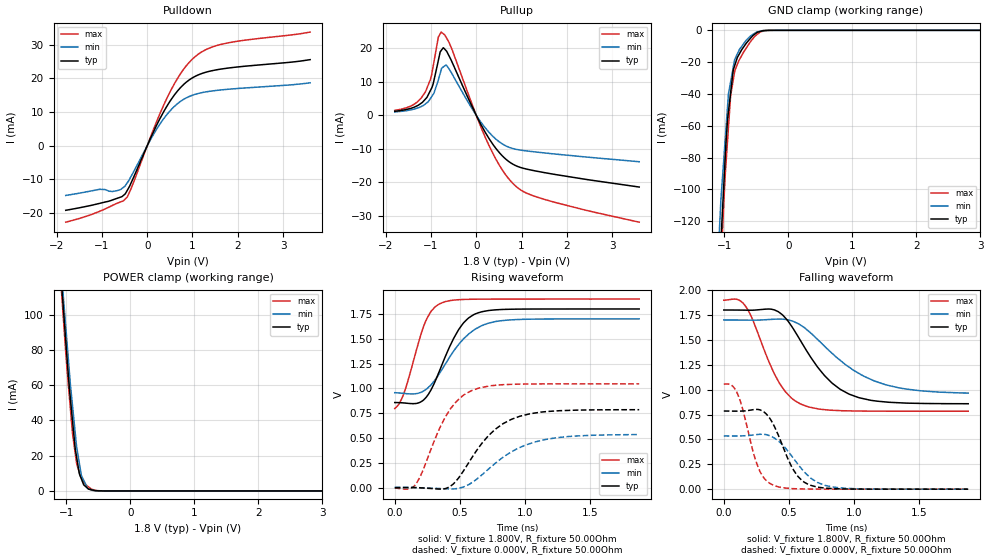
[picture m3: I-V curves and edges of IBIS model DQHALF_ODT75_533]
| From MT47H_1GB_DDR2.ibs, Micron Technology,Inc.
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|MODEL DQHALF_ODT75_533 (Reduced-Drv IO Drvr with 75-ohm ODT Submodel,400/533)
[Model]   DQHALF_ODT75_533
Model_type   I/O
Vinl = 650.000mV
Vinh = 1.150V
Vmeas = 900.000mV
Vref = 900.000mV
Cref = 0.0pF
Rref = 25.000Ohm
|   typ   min   max
C_comp   2.711pF   2.607pF   2.918pF
| Note: C_comp decreases when the ODT circuit is enabled.
[Model Spec]
| Input threshold voltage corners
Vinl   0.650V   0.600V   0.700V
Vinh   1.150V   1.100V   1.200V
| Measurement voltage corners
Vmeas   0.900V   0.850V   0.950V
| Timing spec test load voltage corners
| Vref   0.900V   0.850V   0.950V
| [Receiver Thresholds]
[Voltage Range]   1.800V   1.700V   1.900V
[Pullup Reference]   1.800V   1.700V   1.900V
| Junction Temperature (Ambient temp is 25C typ, 85C min, 0C max)
[Temperature Range]   40.0   100.0   0.0
[Add Submodel]
| Submodel Name   Mode
75ohm_ODT_533   Non-Driving
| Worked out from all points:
|   slope of the pulldown table from 0 to 0.27 V, typ, clamps not added: 34.7 ohm
|   slope of the pullup table from 0 to 0.27 V, typ, clamps not added: 40.5 ohm
|   GND clamp passes 1 mA (typ) near -0.47 V on its own axis
|   POWER clamp passes 1 mA (typ) near -0.65 V on its own axis
|   falling waveform, V_fixture 1.800V, R_fixture 50.00Ohm: 20-80 % time 317ps typ, 433ps min, 228ps max; typ from 1.8 V to 0.859 V
|   rising waveform, V_fixture 1.800V, R_fixture 50.00Ohm: 20-80 % time 200ps typ, 251ps min, 151ps max; typ from 0.857 V to 1.8 V
|   rising waveform, V_fixture 0.000V, R_fixture 50.00Ohm: 20-80 % time 293ps typ, 352ps min, 228ps max; typ from 0 V to 0.785 V
|   falling waveform, V_fixture 0.000V, R_fixture 50.00Ohm: 20-80 % time 164ps typ, 209ps min, 131ps max; typ from 0.785 V to 0 V
[Pulldown]
|   Voltage   I(typ)   I(min)   I(max)
-1.8V     -19.19mA   -14.77mA   -22.72mA
-1.055V   -17.14mA   -12.96mA   -19.51mA
-665mV    -15.63mA   -13.35mA   -17.11mA
-555mV    -15.11mA   -12.67mA   -16.54mA
-440mV    -13.25mA   -11.01mA   -15.2mA
85mV      2.59mA     2.118mA    3.022mA
415mV     11.32mA    8.94mA     13.55mA
750mV     17.48mA    13.31mA    21.69mA
1.08V     20.77mA    15.36mA    26.72mA
1.36V     22.08mA    16.14mA    28.95mA
1.765V    23.05mA    16.76mA    30.52mA
3.6V      25.59mA    18.71mA    33.78mA
[GND Clamp]
|   Voltage   I(typ)   I(min)   I(max)
-1.8V     -885.8mA   -819.1mA   -938.5mA
-1.085V   -156.9mA   -131.5mA   -177.8mA
-1.05V    -129.4mA   -104.3mA   -145.8mA
-1.015V   -102mA     -84.48mA   -113.9mA
-975mV    -70.93mA   -61.87mA   -83.99mA
-935mV    -50.65mA   -39.67mA   -60.36mA
-900mV    -38.4mA    -31.84mA   -40.46mA
-860mV    -24.71mA   -22.89mA   -30.85mA
-775mV    -15.46mA   -12.9mA    -19.13mA
-490mV    -1.39mA    -964.7uA   -2.619mA
-250mV    -7.2uA     -10.94uA   -3.808uA
3.6V      0A         0A         0A
[Pullup]
|   Voltage   I(typ)   I(min)   I(max)
-1.8V     1.204mA    998.4uA    1.479mA
-1.385V   2.359mA    1.814mA    3.194mA
-1.12V    4.892mA    3.43mA     7.071mA
-1.015V   7.33mA     4.941mA    10.61mA
-950mV    9.463mA    6.271mA    14.77mA
-840mV    16.2mA     10.41mA    23.14mA
-775mV    19.33mA    13.57mA    24.83mA
-665mV    19.29mA    15.04mA    23.28mA
300mV     -7.296mA   -5.336mA   -9.533mA
860mV     -14.93mA   -10.08mA   -20.98mA
1.495V    -17.06mA   -11.2mA    -25.03mA
3.6V      -21.4mA    -13.84mA   -31.88mA
[POWER Clamp]
|   Voltage   I(typ)   I(min)   I(max)
-1.8V     517.7mA    504.2mA    528.2mA
-1.085V   122.5mA    128.6mA    118.1mA
-1.05V    105.3mA    111.6mA    99.86mA
-950mV    57.39mA    66.44mA    52.32mA
-905mV    40.41mA    48.84mA    33.37mA
-860mV    23.68mA    32.44mA    21.13mA
-840mV    19.28mA    25.27mA    15.88mA
-795mV    9.591mA    15.37mA    10.18mA
-765mV    6.833mA    8.765mA    7.27mA
-655mV    1.084mA    1.224mA    2.343mA
-440mV    20.18uA    18.19uA    26.74uA
3.6V      0A         0A         0A
[Ramp]
R_load = 50.00Ohm
|   typ   min   max
dV/dt_r   470.794mV/292.659ps 320.068mV/352.430ps 630.297mV/227.686ps
dV/dt_f   564.959mV/317.380ps 440.646mV/432.884ps 669.189mV/228.060ps
[Falling Waveform]
V_fixture = 1.800V
V_fixture_min = 1.700V
V_fixture_max = 1.900V
R_fixture = 50.00Ohm
|   Time   V(typ)   V(min)   V(max)
0s        1.8V       1.7V       1.899V
100ps     1.8V       1.7V       1.908V
170ps     1.799V     1.699V     1.834V
420ps     1.783V     1.709V     1.084V
520ps     1.641V     1.692V     916.1mV
590ps     1.493V     1.649V     856.2mV
770ps     1.149V     1.443V     799.7mV
970ps     952mV      1.22V      786.6mV
1.34ns    868.8mV    1.02V      783.4mV
1.88ns    858.5mV    965.7mV    783.2mV
[Rising Waveform]
V_fixture = 1.800V
V_fixture_min = 1.700V
V_fixture_max = 1.900V
R_fixture = 50.00Ohm
|   Time   V(typ)   V(min)   V(max)
0s        857mV      956.2mV    796.3mV
70ps      853mV      948.9mV    949.3mV
220ps     880.8mV    971.7mV    1.617V
280ps     987.5mV    1.037V     1.778V
350ps     1.196V     1.163V     1.855V
490ps     1.589V     1.44V      1.893V
560ps     1.701V     1.537V     1.897V
650ps     1.765V     1.619V     1.899V
930ps     1.798V     1.693V     1.9V
1.88ns    1.8V       1.7V       1.9V
[Rising Waveform]
V_fixture = 0.000V
V_fixture_min = 0.000V
V_fixture_max = 0.000V
R_fixture = 50.00Ohm
|   Time   V(typ)   V(min)   V(max)
0s        157.6uV    527.3uV    -5.048mV
150ps     -63.44uV   -174.2uV   15.32mV
200ps     -2.929mV   -1.932mV   123.8mV
340ps     -15.09mV   -9.125mV   582.8mV
420ps     5.76mV     -13.84mV   776.7mV
590ps     295mV      47.5mV     976.6mV
770ps     584mV      241.4mV    1.03V
960ps     717.9mV    402.2mV    1.042V
1.25ns    773.3mV    503.1mV    1.045V
1.88ns    784.8mV    534mV      1.045V
[Falling Waveform]
V_fixture = 0.000V
V_fixture_min = 0.000V
V_fixture_max = 0.000V
R_fixture = 50.00Ohm
|   Time   V(typ)   V(min)   V(max)
0s        785.2mV    534.8mV    1.054V
60ps      784.3mV    534.3mV    1.044V
100ps     783.9mV    534.3mV    975.2mV
270ps     799.3mV    550.4mV    203.9mV
310ps     774.7mV    550.6mV    109.8mV
390ps     628.4mV    513mV      34.43mV
530ps     205.8mV    320.2mV    5.532mV
670ps     38.03mV    109.7mV    1.244mV
930ps     2.386mV    9.569mV    174.5uV
1.88ns    54.84uV    76.8uV     54.81uV
